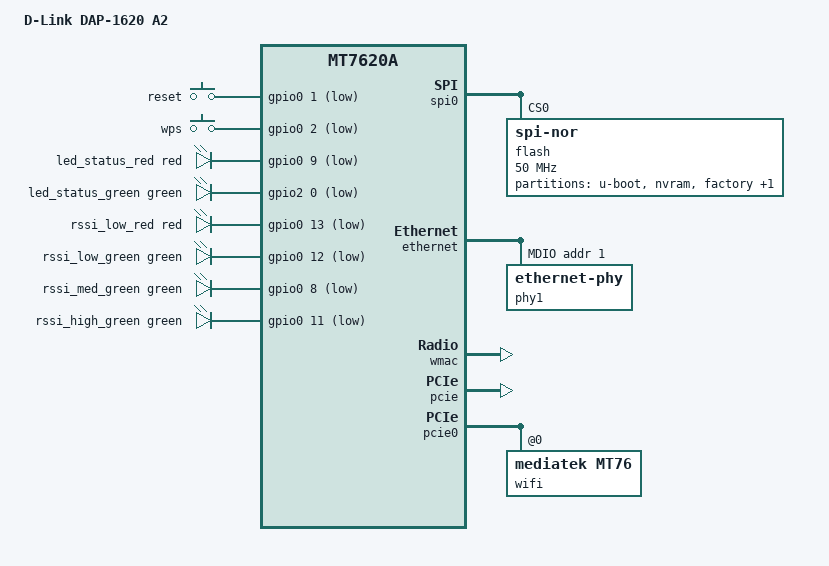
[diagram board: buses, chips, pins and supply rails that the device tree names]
// SPDX-License-Identifier: GPL-2.0-or-later OR MIT

#include "mt7620a.dtsi"

#include <dt-bindings/gpio/gpio.h>
#include <dt-bindings/input/input.h>
#include <dt-bindings/leds/common.h>

/ {
	compatible = "dlink,dap-1620-a2", "ralink,mt7620a-soc";
	model = "D-Link DAP-1620 A2";

	aliases {
		led-boot = &led_status_red;
		led-failsafe = &led_status_green;
		led-running = &led_status_green;
		led-upgrade = &led_status_red;
	};

	keys {
		compatible = "gpio-keys";

		reset {
			label = "reset";
			gpios = <&gpio0 1 GPIO_ACTIVE_LOW>;
			linux,code = <KEY_RESTART>;
			debounce-interval = <60>;
		};

		wps {
			label = "wps";
			gpios = <&gpio0 2 GPIO_ACTIVE_LOW>;
			linux,code = <KEY_WPS_BUTTON>;
		};
	};

	leds {
		compatible = "gpio-leds";

		led_status_red: status_red {
			function = LED_FUNCTION_STATUS;
			color = <LED_COLOR_ID_RED>;
			gpios = <&gpio0 9 GPIO_ACTIVE_LOW>;
		};

		led_status_green: status_green {
			function = LED_FUNCTION_STATUS;
			color = <LED_COLOR_ID_GREEN>;
			gpios = <&gpio2 0 GPIO_ACTIVE_LOW>;
		};

		rssi_low_red {
			color = <LED_COLOR_ID_RED>;
			function = LED_FUNCTION_INDICATOR;
			function-enumerator = <1>;
			gpios = <&gpio0 13 GPIO_ACTIVE_LOW>;
		};

		rssi_low_green {
			color = <LED_COLOR_ID_GREEN>;
			function = LED_FUNCTION_INDICATOR;
			function-enumerator = <1>;
			gpios = <&gpio0 12 GPIO_ACTIVE_LOW>;
		};

		rssi_med_green {
			color = <LED_COLOR_ID_GREEN>;
			function = LED_FUNCTION_INDICATOR;
			function-enumerator = <2>;
			gpios = <&gpio0 8 GPIO_ACTIVE_LOW>;
		};

		rssi_high_green {
			color = <LED_COLOR_ID_GREEN>;
			function = LED_FUNCTION_INDICATOR;
			function-enumerator = <3>;
			gpios = <&gpio0 11 GPIO_ACTIVE_LOW>;
		};
	};
};

&gpio2 {
	status = "okay";
};

&spi0 {
	status = "okay";

	flash@0 {
		compatible = "jedec,spi-nor";
		reg = <0>;
		spi-max-frequency = <50000000>;

		partitions {
			compatible = "fixed-partitions";
			#address-cells = <1>;
			#size-cells = <1>;

			partition@0 {
				label = "u-boot";
				reg = <0x0 0x30000>;
				read-only;
			};

			partition@30000 {
				label = "nvram";
				reg = <0x30000 0x10000>;
				read-only;
			};

			partition@40000 {
				label = "factory";
				reg = <0x40000 0x10000>;
				read-only;

				nvmem-layout {
					compatible = "fixed-layout";
					#address-cells = <1>;
					#size-cells = <1>;

					eeprom_factory_0: eeprom@0 {
						reg = <0x0 0x200>;
					};

					eeprom_factory_8000: eeprom@8000 {
						reg = <0x8000 0x200>;
					};

					macaddr_factory_ffd4: macaddr@ffd4 {
						compatible = "mac-base";
						reg = <0xffd4 0x11>;
						#nvmem-cell-cells = <1>;
					};

					macaddr_factory_ffe8: macaddr@ffe8 {
						compatible = "mac-base";
						reg = <0xffe8 0x11>;
						#nvmem-cell-cells = <1>;
					};
				};
			};

			partition@50000 {
				compatible = "denx,uimage";
				label = "firmware";
				reg = <0x50000 0x7b0000>;
			};
		};
	};
};

&state_default {
	gpio {
		groups = "i2c", "uartf", "ephy";
		function = "gpio";
	};
};

&ethernet {
	pinctrl-names = "default";
	pinctrl-0 = <&rgmii1_pins>, <&mdio_pins>;

	nvmem-cells = <&macaddr_factory_ffe8 0>;
	nvmem-cell-names = "mac-address";

	mediatek,portmap = "wllll";

	port@5 {
		status = "okay";
		phy-handle = <&phy1>;
		phy-mode = "rgmii";
	};

	mdio-bus {
		status = "okay";

		phy1: ethernet-phy@1 {
			reg = <1>;
			phy-mode = "rgmii";
		};
	};
};

&gsw {
	mediatek,ephy-base = /bits/ 8 <12>;
};

&wmac {
	nvmem-cells = <&eeprom_factory_0>, <&macaddr_factory_ffe8 1>;
	nvmem-cell-names = "eeprom", "mac-address";
};

&pcie {
	status = "okay";
};

&pcie0 {
	wifi@0,0 {
		compatible = "mediatek,mt76";
		reg = <0x0000 0 0 0 0>;
		nvmem-cells = <&eeprom_factory_8000>, <&macaddr_factory_ffd4 0>;
		nvmem-cell-names = "eeprom", "mac-address";
		ieee80211-freq-limit = <5000000 6000000>;
	};
};
